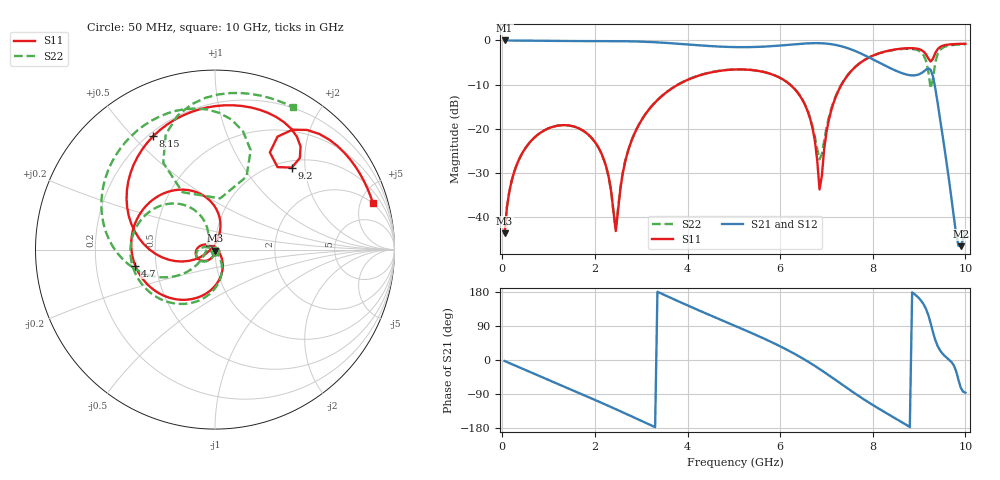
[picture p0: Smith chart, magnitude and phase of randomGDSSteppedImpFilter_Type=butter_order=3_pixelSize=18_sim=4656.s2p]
! freq	dB(S11)	phase(S11)	dB(S12)	phase(S12)
!  dB(S21)	phase(S21)	dB(S22)	phase(S22)
!S-par simulation data
#  GHz  S  DB  R 50
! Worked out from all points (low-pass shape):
!   200 points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, 50 MHz to 10 GHz, reference 50 ohm
!   highest |S21| = -0.01 dB at 50 MHz (marker M1); lowest = -46.5 dB at 9.9 GHz (marker M2)
!   |S21| within 3 dB of the highest: start of sweep to 7.754 GHz
!   lowest |S11| = -43.6 dB at 50 MHz (marker M3), VSWR 1.01, Z = 50 - j0.658 ohm
!   |S11| at or under -10 dB: start of sweep to 3.795 GHz; 6.214 GHz to 7.327 GHz (1.113 GHz wide, 16.4 % of centre)
!   |S22| runs from -43.6 to -0.9 dB; largest |S21 - S12| = 0
!   S11 on the Smith chart (normalised r, x): 50 MHz: 1.00, -0.01; 4.7 GHz: 0.38, -0.09; 8.15 GHz: 0.22, +0.57; 9.2 GHz: 1.13, +1.71; 10 GHz: 1.96, +6.38
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0.05  -43.63 -90.9  -0.01 -2.7  -0.01 -2.7  -43.63 -90.7
0.2  -31.85 -100.5  -0.02 -10.6  -0.02 -10.6  -31.85 -99.8
0.55  -23.62 -120.5  -0.06 -29.1  -0.06 -29.1  -23.62 -118.6
1.75  -20.45 172.8  -0.15 -92.0  -0.15 -92.0  -20.47 -178.4
2.2  -27.14 142.9  -0.14 -116.1  -0.14 -116.1  -27.20 163.7
2.45  -43.12 48.3  -0.15 -129.7  -0.15 -129.7  -42.62 -126.2
2.75  -23.88 -53.2  -0.20 -146.4  -0.20 -146.4  -23.79 -61.5
3.4  -13.00 -95.2  -0.47 177.2  -0.47 177.2  -12.96 -91.8
4.7  -6.87 -168.6  -1.40 107.0  -1.40 107.0  -6.85 -157.2
5.05  -6.57 172.3  -1.51 88.8  -1.51 88.8  -6.54 -174.1
6.15  -9.46 108.0  -1.02 26.8  -1.02 26.8  -9.44 130.5
6.7  -19.90 74.5  -0.62 -11.8  -0.62 -11.8  -19.41 111.1
6.85  -33.72 115.3  -0.62 -23.6  -0.62 -23.6  -26.89 156.5
7.25  -11.56 -167.7  -1.13 -57.3  -1.13 -57.3  -11.40 -146.4
8.15  -2.86 118.6  -5.07 -129.8  -5.07 -129.8  -2.89 150.0
8.35  -2.30 103.9  -6.13 -144.1  -6.13 -144.1  -2.35 136.5
8.95  -1.86 61.7  -7.83 168.7  -7.83 168.7  -2.14 93.1
9.2  -4.07 46.9  -6.32 118.4  -6.32 118.4  -7.08 66.6
9.35  -2.86 61.0  -10.81 52.6  -10.81 52.6  -4.99 120.8
9.55  -1.08 44.0  -24.50 11.3  -24.50 11.3  -1.44 93.6
9.9  -0.77 21.7  -46.54 -73.2  -46.54 -73.2  -0.91 67.3
10  -0.75 16.3  -43.22 -86.4  -43.22 -86.4  -0.87 61.3
